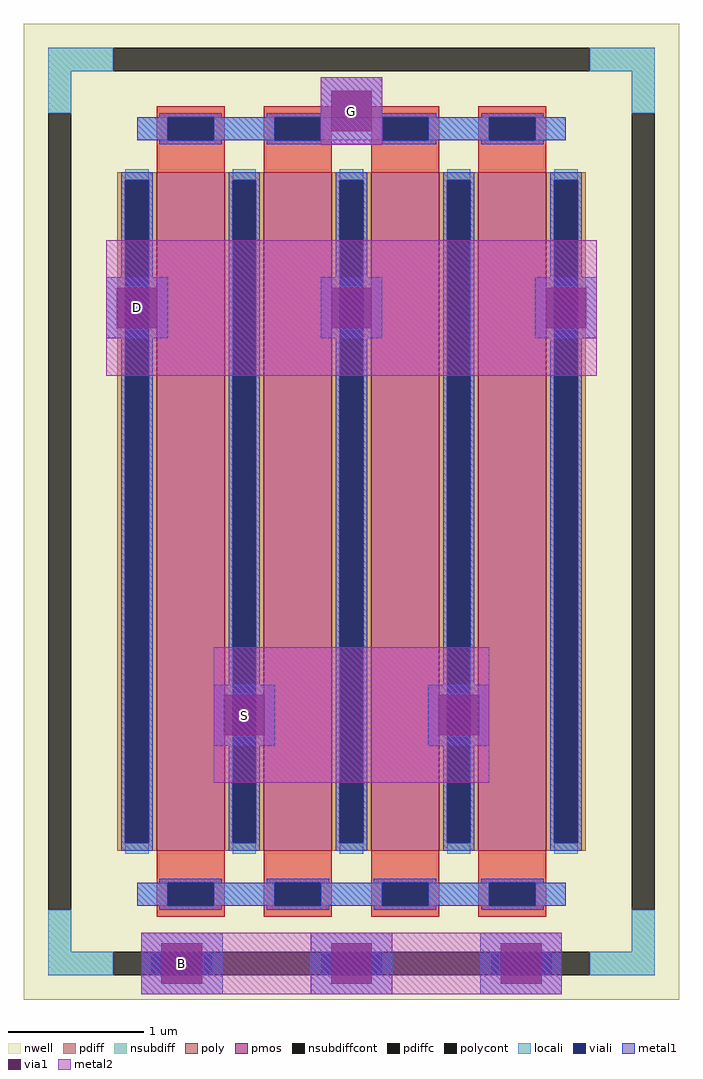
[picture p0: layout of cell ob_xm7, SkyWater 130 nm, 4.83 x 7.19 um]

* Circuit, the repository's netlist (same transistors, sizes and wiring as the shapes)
* NGSPICE file created from ob_xm7.ext - technology: sky130A

.subckt ob_p20_l0p5_f4 B D0 G S1 D2 S3 a_287_n500#
X0 S1 G D0 B sky130_fd_pr__pfet_01v8 ad=0.725 pd=5.29 as=1.45 ps=10.58 w=5 l=0.5
X1 a_287_n500# G S3 B sky130_fd_pr__pfet_01v8 ad=1.45 pd=10.58 as=0.725 ps=5.29 w=5 l=0.5
X2 S3 G D2 B sky130_fd_pr__pfet_01v8 ad=0.725 pd=5.29 as=0.725 ps=5.29 w=5 l=0.5
X3 D2 G S1 B sky130_fd_pr__pfet_01v8 ad=0.725 pd=5.29 as=0.725 ps=5.29 w=5 l=0.5
.ends

.subckt ob_xm7 D S G B
Xu_dev B D G S D S D ob_p20_l0p5_f4
.ends

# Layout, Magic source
magic
tech sky130A
magscale 1 2
use ob_p20_l0p5_f4 u_dev
transform 1 0 0 0 1 0
box -483 -719 483 719
<< viali >>
rect -295 -683 -205 -649
rect -45 -683 45 -649
rect 205 -683 295 -649
<< metal1 >>
rect -361 255 -271 345
rect -45 255 45 345
rect 271 255 361 345
rect -203 -345 -113 -255
rect 113 -345 203 -255
rect -45 541 45 640
rect -310 -711 -190 -621
rect -60 -711 60 -621
rect 190 -711 310 -621
<< via1 >>
rect -346 270 -286 330
rect -30 270 30 330
rect 286 270 346 330
rect -188 -330 -128 -270
rect 128 -330 188 -270
rect -30 560 30 620
rect -280 -696 -220 -636
rect -30 -696 30 -636
rect 220 -696 280 -636
<< metal2 >>
rect -361 200 361 400
rect -203 -400 203 -200
rect -45 540 45 640
rect -310 -711 310 -621
<< labels >>
rlabel metal2 -316 300 -316 300 0 D
port 1 nsew
rlabel metal2 -158 -300 -158 -300 0 S
port 2 nsew
rlabel metal2 0 590 0 590 0 G
port 3 nsew
rlabel metal2 -250 -666 -250 -666 0 B
port 4 nsew
<< end >>

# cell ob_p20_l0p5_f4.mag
magic
tech sky130A
magscale 1 2
<< nwell >>
rect -483 -719 483 719
<< pmos >>
rect -287 -500 -187 500
rect -129 -500 -29 500
rect 29 -500 129 500
rect 187 -500 287 500
<< pdiff >>
rect -345 488 -287 500
rect -345 -488 -333 488
rect -299 -488 -287 488
rect -345 -500 -287 -488
rect -187 488 -129 500
rect -187 -488 -175 488
rect -141 -488 -129 488
rect -187 -500 -129 -488
rect -29 488 29 500
rect -29 -488 -17 488
rect 17 -488 29 488
rect -29 -500 29 -488
rect 129 488 187 500
rect 129 -488 141 488
rect 175 -488 187 488
rect 129 -500 187 -488
rect 287 488 345 500
rect 287 -488 299 488
rect 333 -488 345 488
rect 287 -500 345 -488
<< pdiffc >>
rect -333 -488 -299 488
rect -175 -488 -141 488
rect -17 -488 17 488
rect 141 -488 175 488
rect 299 -488 333 488
<< nsubdiff >>
rect -447 649 -351 683
rect 351 649 447 683
rect -447 587 -413 649
rect 413 587 447 649
rect -447 -649 -413 -587
rect 413 -649 447 -587
rect -447 -683 -351 -649
rect 351 -683 447 -649
<< nsubdiffcont >>
rect -351 649 351 683
rect -447 -587 -413 587
rect 413 -587 447 587
rect -351 -683 351 -649
<< poly >>
rect -287 581 -187 597
rect -287 547 -271 581
rect -203 547 -187 581
rect -287 500 -187 547
rect -129 581 -29 597
rect -129 547 -113 581
rect -45 547 -29 581
rect -129 500 -29 547
rect 29 581 129 597
rect 29 547 45 581
rect 113 547 129 581
rect 29 500 129 547
rect 187 581 287 597
rect 187 547 203 581
rect 271 547 287 581
rect 187 500 287 547
rect -287 -547 -187 -500
rect -287 -581 -271 -547
rect -203 -581 -187 -547
rect -287 -597 -187 -581
rect -129 -547 -29 -500
rect -129 -581 -113 -547
rect -45 -581 -29 -547
rect -129 -597 -29 -581
rect 29 -547 129 -500
rect 29 -581 45 -547
rect 113 -581 129 -547
rect 29 -597 129 -581
rect 187 -547 287 -500
rect 187 -581 203 -547
rect 271 -581 287 -547
rect 187 -597 287 -581
<< polycont >>
rect -271 547 -203 581
rect -113 547 -45 581
rect 45 547 113 581
rect 203 547 271 581
rect -271 -581 -203 -547
rect -113 -581 -45 -547
rect 45 -581 113 -547
rect 203 -581 271 -547
<< locali >>
rect -447 649 -351 683
rect 351 649 447 683
rect -447 587 -413 649
rect 413 587 447 649
rect -316 547 -271 581
rect -203 547 -113 581
rect -45 547 45 581
rect 113 547 203 581
rect 271 547 316 581
rect -333 488 -299 504
rect -333 -504 -299 -488
rect -175 488 -141 504
rect -175 -504 -141 -488
rect -17 488 17 504
rect -17 -504 17 -488
rect 141 488 175 504
rect 141 -504 175 -488
rect 299 488 333 504
rect 299 -504 333 -488
rect -316 -581 -271 -547
rect -203 -581 -113 -547
rect -45 -581 45 -547
rect 113 -581 203 -547
rect 271 -581 316 -547
rect -447 -649 -413 -587
rect 413 -649 447 -587
rect -447 -683 -351 -649
rect 351 -683 447 -649
<< viali >>
rect -271 547 -203 581
rect -113 547 -45 581
rect 45 547 113 581
rect 203 547 271 581
rect -333 -488 -299 488
rect -175 -488 -141 488
rect -17 -488 17 488
rect 141 -488 175 488
rect 299 -488 333 488
rect -271 -581 -203 -547
rect -113 -581 -45 -547
rect 45 -581 113 -547
rect 203 -581 271 -547
<< metal1 >>
rect -283 581 -191 587
rect -125 581 -33 587
rect 33 581 125 587
rect 191 581 283 587
rect -316 547 -271 581
rect -203 547 -113 581
rect -45 547 45 581
rect 113 547 203 581
rect 271 547 316 581
rect -283 541 -191 547
rect -125 541 -33 547
rect 33 541 125 547
rect 191 541 283 547
rect -339 488 -293 500
rect -339 -488 -333 488
rect -299 -488 -293 488
rect -339 -500 -293 -488
rect -181 488 -135 500
rect -181 -488 -175 488
rect -141 -488 -135 488
rect -181 -500 -135 -488
rect -23 488 23 500
rect -23 -488 -17 488
rect 17 -488 23 488
rect -23 -500 23 -488
rect 135 488 181 500
rect 135 -488 141 488
rect 175 -488 181 488
rect 135 -500 181 -488
rect 293 488 339 500
rect 293 -488 299 488
rect 333 -488 339 488
rect 293 -500 339 -488
rect -283 -547 -191 -541
rect -125 -547 -33 -541
rect 33 -547 125 -541
rect 191 -547 283 -541
rect -316 -581 -271 -547
rect -203 -581 -113 -547
rect -45 -581 45 -547
rect 113 -581 203 -547
rect 271 -581 316 -547
rect -283 -587 -191 -581
rect -125 -587 -33 -581
rect 33 -587 125 -581
rect 191 -587 283 -581
<< labels >>
rlabel nsubdiffcont 0 -666 0 -666 0 B
port 1 nsew
rlabel pdiffc -316 0 -316 0 0 D0
port 2 nsew
rlabel polycont -237 564 -237 564 0 G
port 3 nsew
rlabel pdiffc -158 0 -158 0 0 S1
port 4 nsew
rlabel polycont -79 564 -79 564 0 G
port 3 nsew
rlabel pdiffc 0 0 0 0 0 D2
port 5 nsew
rlabel polycont 79 564 79 564 0 G
port 3 nsew
rlabel pdiffc 158 0 158 0 0 S3
port 6 nsew
rlabel polycont 237 564 237 564 0 G
port 3 nsew
<< properties >>
string FIXED_BBOX -430 -666 430 666
<< end >>
